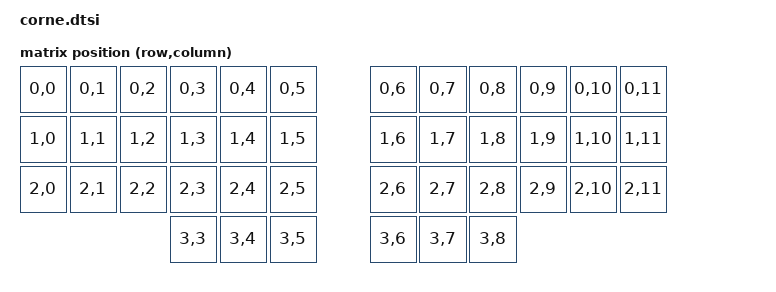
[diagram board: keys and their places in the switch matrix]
#include <dt-bindings/zmk/matrix_transform.h>
#include <physical_layouts.dtsi>

/ {
    chosen {
        zmk,kscan = &kscan0;
        zmk,physical-layout = &default_layout;
    };

    default_transform: keymap_transform_0 {
        compatible = "zmk,matrix-transform";
        columns = <12>;
        rows = <4>;

        map = <
            RC(0,0)  RC(0,1)  RC(0,2)  RC(0,3)  RC(0,4)  RC(0,5)   RC(0,6)  RC(0,7)  RC(0,8)  RC(0,9)  RC(0,10) RC(0,11)
            RC(1,0)  RC(1,1)  RC(1,2)  RC(1,3)  RC(1,4)  RC(1,5)   RC(1,6)  RC(1,7)  RC(1,8)  RC(1,9)  RC(1,10) RC(1,11)
            RC(2,0)  RC(2,1)  RC(2,2)  RC(2,3)  RC(2,4)  RC(2,5)   RC(2,6)  RC(2,7)  RC(2,8)  RC(2,9)  RC(2,10) RC(2,11)
                                       RC(3,3)  RC(3,4)  RC(3,5)   RC(3,6)  RC(3,7)  RC(3,8)
        >;
    };

    kscan0: kscan_0 {
        diode-direction = "col2row";
    };

    default_layout: corne_6col_layout {
        compatible = "zmk,physical-layout";
        display-name = "6 Column";

        transform = "&default_transform>

        keys  //                     w   h    x    y     rot    rx    ry
            = <&key_physical_attrs 100 100    0   37       0     0     0>
            , <&key_physical_attrs 100 100  100   37       0     0     0>
            , <&key_physical_attrs 100 100  200   12       0     0     0>
            , <&key_physical_attrs 100 100  300    0       0     0     0>
            , <&key_physical_attrs 100 100  400   12       0     0     0>
            , <&key_physical_attrs 100 100  500   24       0     0     0>
            , <&key_physical_attrs 100 100  800   24       0     0     0>
            , <&key_physical_attrs 100 100  900   12       0     0     0>
            , <&key_physical_attrs 100 100 1000    0       0     0     0>
            , <&key_physical_attrs 100 100 1100   12       0     0     0>
            , <&key_physical_attrs 100 100 1200   37       0     0     0>
            , <&key_physical_attrs 100 100 1300   37       0     0     0>
            , <&key_physical_attrs 100 100    0  137       0     0     0>
            , <&key_physical_attrs 100 100  100  137       0     0     0>
            , <&key_physical_attrs 100 100  200  112       0     0     0>
            , <&key_physical_attrs 100 100  300  100       0     0     0>
            , <&key_physical_attrs 100 100  400  112       0     0     0>
            , <&key_physical_attrs 100 100  500  124       0     0     0>
            , <&key_physical_attrs 100 100  800  124       0     0     0>
            , <&key_physical_attrs 100 100  900  112       0     0     0>
            , <&key_physical_attrs 100 100 1000  100       0     0     0>
            , <&key_physical_attrs 100 100 1100  112       0     0     0>
            , <&key_physical_attrs 100 100 1200  137       0     0     0>
            , <&key_physical_attrs 100 100 1300  137       0     0     0>
            , <&key_physical_attrs 100 100    0  237       0     0     0>
            , <&key_physical_attrs 100 100  100  237       0     0     0>
            , <&key_physical_attrs 100 100  200  212       0     0     0>
            , <&key_physical_attrs 100 100  300  200       0     0     0>
            , <&key_physical_attrs 100 100  400  212       0     0     0>
            , <&key_physical_attrs 100 100  500  224       0     0     0>
            , <&key_physical_attrs 100 100  800  224       0     0     0>
            , <&key_physical_attrs 100 100  900  212       0     0     0>
            , <&key_physical_attrs 100 100 1000  200       0     0     0>
            , <&key_physical_attrs 100 100 1100  212       0     0     0>
            , <&key_physical_attrs 100 100 1200  237       0     0     0>
            , <&key_physical_attrs 100 100 1300  237       0     0     0>
            , <&key_physical_attrs 100 100  350  312       0     0     0>
            , <&key_physical_attrs 100 100  450  312    1200   450   412>
            , <&key_physical_attrs 100 150  548  283    2400   548   433>
            , <&key_physical_attrs 100 150  752  283  (-2400)  852   433>
            , <&key_physical_attrs 100 100  850  312  (-1200)  950   412>
            , <&key_physical_attrs 100 100  950  312       0     0     0>
            ;
    };

    default_position_map {
        compatible = "zmk,physical-layout-position-map";

        complete;

        corne_6col_position_map: twelve {
            physical-layout = <&default_layout>;
            
            positions
                = < 0  1  2  3  4  5  6  7  8  9 10 11>
                , <12 13 14 15 16 17 18 19 20 21 22 23>
                , <24 25 26 27 28 29 30 31 32 33 34 35>
                , <         36 37 38 39 40 41         >
                ;
        };
    };
};
